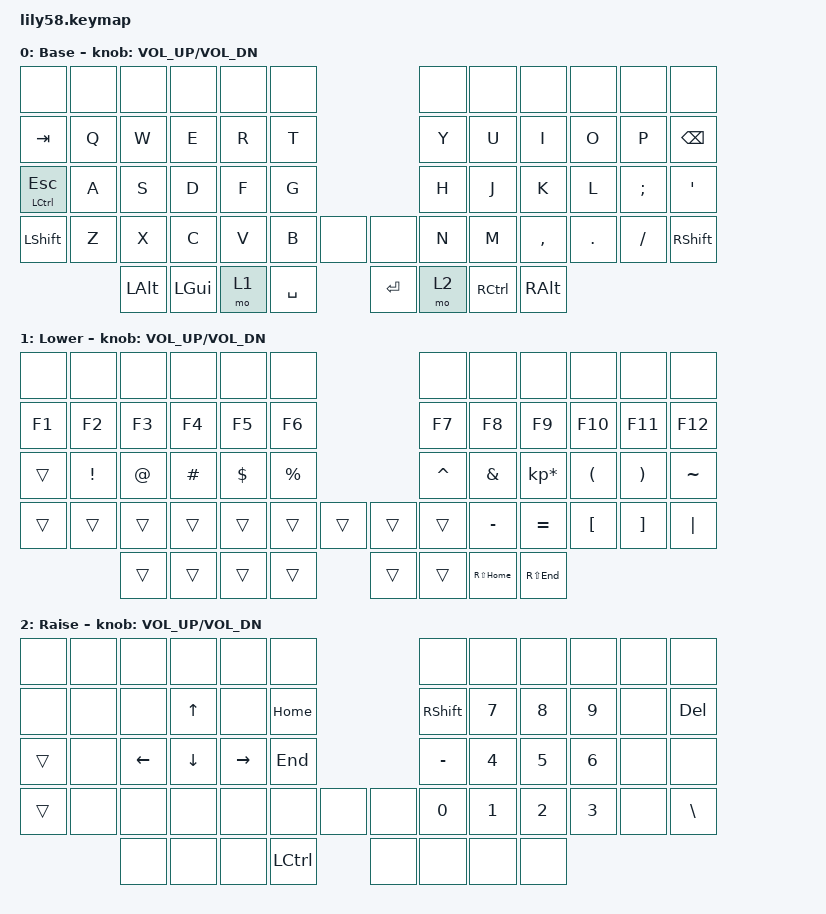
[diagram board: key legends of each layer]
/*
 * Copyright (c) 2020 The ZMK Contributors
 *
 * SPDX-License-Identifier: MIT
 */

#include <behaviors.dtsi>
#include <dt-bindings/zmk/keys.h>
#include <dt-bindings/zmk/bt.h>
#include <dt-bindings/zmk/ext_power.h>

&mt {
    tapping-term-ms = <200>;
};


/ {
    keymap {
        compatible = "zmk,keymap";

        default_layer {
// ------------------------------------------------------------------------------------------------------------
// |  ESC  |  1  |  2  |  3   |  4   |  5   |                   |  6   |  7    |  8    |  9   |   0   |   `   |
// |  TAB  |  Q  |  W  |  E   |  R   |  T   |                   |  Y   |  U    |  I    |  O   |   P   |   -   |
// |  CTRL |  A  |  S  |  D   |  F   |  G   |                   |  H   |  J    |  K    |  L   |   ;   |   '   |
// | SHIFT |  Z  |  X  |  C   |  V   |  B   |   "["  |  |  "]"  |  N   |  M    |  ,    |  .   |   /   | SHIFT |
//                     | ALT  | GUI  | LOWER|  SPACE |  | ENTER | RAISE| BSPC  | GUI   |
            display-name = "Base";
            bindings = <
&none         &none  &none    &none    &none    &none                      &none  &none    &none     &none   &none    &none
&kp TAB       &kp Q  &kp W    &kp E    &kp R    &kp T                      &kp Y  &kp U    &kp I     &kp O   &kp P    &kp BSPC
&mt LCTRL ESC &kp A  &kp S    &kp D    &kp F    &kp G                      &kp H  &kp J    &kp K     &kp L   &kp SEMI &kp SQT
&kp LSHFT     &kp Z  &kp X    &kp C    &kp V    &kp B &none       &none    &kp N  &kp M    &kp COMMA &kp DOT &kp FSLH &kp RSHFT
                     &kp LALT &kp LGUI &mo 1          &kp SPACE   &kp RET  &mo 2  &kp RCTRL  &kp RALT 
            >;

            sensor-bindings = <&inc_dec_kp C_VOL_UP C_VOL_DN>;
        };

        lower_layer {
// ------------------------------------------------------------------------------------------------------------
// | BTCLR | BT1 | BT2 |  BT3 |  BT4 |  BT5 |                   |      |       |       |      |       |       |
// |  F1   |  F2 |  F3 |  F4  |  F5  |  F6  |                   |  F7  |  F8   |  F9   |  F10 |  F11  |  F12  |
// |   `   |  !  |  @  |  #   |  $   |  %   |                   |  ^   |  &    |  *    |  (   |   )   |   ~   |
// |       |     |     |      |      |      |        |  |       |      |  _    |  +    |  {   |   }   |  "|"  |
//                     |      |      |      |        |  |       |      |       |       |
            display-name = "Lower";
            bindings = <
&none      &none     	    &none             &none             &none        &none                        &none     &none       &none            &none     &none     &none
&kp F1     &kp F2           &kp F3            &kp F4            &kp F5       &kp F6                       &kp F7    &kp F8       &kp F9          &kp F10   &kp F11   &kp F12
&trans	   &kp EXCL         &kp AT            &kp HASH          &kp DOLLAR   &kp PRCNT                    &kp CARET &kp AMPS     &kp KP_MULTIPLY &kp LPAR  &kp RPAR  &kp TILDE
&trans     &trans           &trans            &trans            &trans       &trans    &trans   &trans    &trans    &kp MINUS    &kp EQUAL     &kp LBKT  &kp RBKT  &kp PIPE
                                              &trans            &trans       &trans    &trans   &trans    &trans    &kp RS(HOME) &kp RS(END)
            >;

            sensor-bindings = <&inc_dec_kp C_VOL_UP C_VOL_DN>;
        };

        raise_layer {
// ------------------------------------------------------------------------------------------------------------
// |       |     |     |      |      |      |                   |      |       |       |      |       |       |
// |   `   |  1  |  2  |  3   |  4   |  5   |                   |  6   |   7   |   8   |  9   |   0   |       |
// |   F1  |  F2 |  F3 |  F4  |  F5  |  F6  |                   |      |   <-  |   v   |  ^   |  ->   |       |
// |   F7  |  F8 |  F9 |  F10 |  F11 |  F12 |        |  |       |  +   |   -   |   =   |  [   |   ]   |   \   |
//                     |      |      |      |        |  |       |      |       |       |
            display-name = "Raise";
            bindings = <
&none      &none  &none  &none    &none    &none                    &none      &none     &none    &none    &none  &none
&none      &none &none &kp UP   &none   &kp HOME                    &kp RSHFT  &kp N7    &kp N8   &kp N9   &none  &kp DEL
&trans     &none  &kp LEFT  &kp DOWN    &kp RIGHT   &kp END         &kp MINUS  &kp N4    &kp N5   &kp N6   &none  &none
&trans     &none  &none  &none &none &none   &none            &none &kp N0     &kp N1    &kp N2   &kp N3   &none  &kp BSLH
                         &none    &none    &none    &kp LCTRL &none  &none  &none     &none
            >;

            sensor-bindings = <&inc_dec_kp C_VOL_UP C_VOL_DN>;
        };
    };
};
